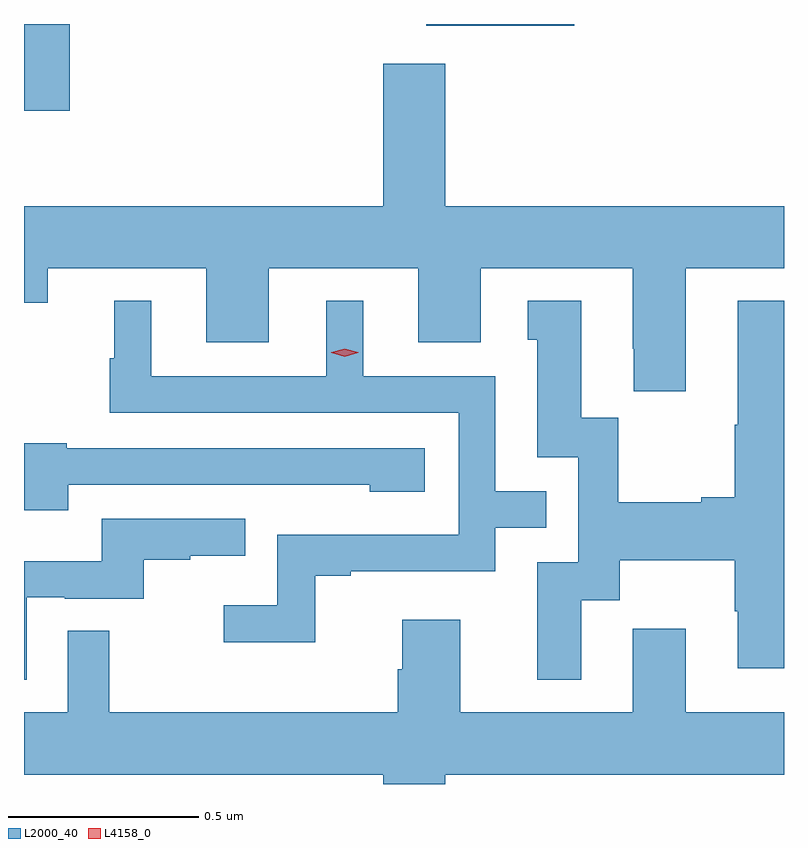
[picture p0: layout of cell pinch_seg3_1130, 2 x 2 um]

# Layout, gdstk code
import gdstk
lib = gdstk.Library(unit=1e-6, precision=1e-09)
def R(c, l, rs):  # rectangles x0, y0, x1, y1
    for r in rs: c.add(gdstk.rectangle(r[:2], r[2:], *l))
def P(c, l, *ps):  # polygons
    for p in ps: c.add(gdstk.Polygon(p, *l))
L2000_40 = (2000, 40)
L4158_0 = (4158, 0)

pinch_seg3_1130 = lib.new_cell('pinch_seg3_1130')
R(pinch_seg3_1130, L2000_40, [(379.847,727.971,379.967,728.199), (380.906,728.194,381.295,728.199)])
P(pinch_seg3_1130, L2000_40, [(381.589,727.556),(381.847,727.556),(381.847,727.72),(380.956,727.72),(380.956,728.095),(380.792,728.095),(380.792,727.72),(379.847,727.72),(379.847,727.466),(379.909,727.466),(379.909,727.556),(380.327,727.556),(380.327,727.362),(380.491,727.362),(380.491,727.556),(380.885,727.556),(380.885,727.362),(381.049,727.362),(381.049,727.556),(381.449,727.556),(381.449,727.345),(381.452,727.345),(381.452,727.233),(381.589,727.233)],
  [(381.313,726.682),(381.415,726.682),(381.415,726.788),(381.718,726.788),(381.718,726.654),(381.725,726.654),(381.725,726.504),(381.847,726.504),(381.847,727.471),(381.725,727.471),(381.725,727.145),(381.718,727.145),(381.718,726.953),(381.629,726.953),(381.629,726.94),(381.411,726.94),(381.411,727.163),(381.313,727.163),(381.313,727.471),(381.173,727.471),(381.173,727.368),(381.197,727.368),(381.197,727.059),(381.306,727.059),(381.306,726.783),(381.197,726.783),(381.197,726.474),(381.313,726.474)],
  [(380.613,726.747),(380.707,726.747),(380.707,726.759),(381.087,726.759),(381.087,726.873),(381.221,726.873),(381.221,726.969),(381.087,726.969),(381.087,727.272),(380.74,727.272),(380.74,727.471),(380.642,727.471),(380.642,727.272),(380.182,727.272),(380.182,727.471),(380.084,727.471),(380.084,727.32),(380.073,727.32),(380.073,727.176),(380.991,727.176),(380.991,726.855),(380.514,726.855),(380.514,726.67),(380.373,726.67),(380.373,726.572),(380.613,726.572)],
  [(379.963,726.987),(380.521,726.987),(380.521,726.986),(380.757,726.986),(380.757,726.968),(380.902,726.968),(380.902,727.083),(379.959,727.083),(379.959,727.096),(379.847,727.096),(379.847,726.92),(379.963,726.92)],
  [(379.854,726.69),(379.954,726.69),(379.954,726.687),(380.162,726.687),(380.162,726.789),(380.285,726.789),(380.285,726.8),(380.429,726.8),(380.429,726.897),(380.052,726.897),(380.052,726.785),(379.847,726.785),(379.847,726.473),(379.854,726.473)],
  [(380.956,726.224),(381.847,726.224),(381.847,726.388),(381.589,726.388),(381.589,726.607),(381.449,726.607),(381.449,726.388),(380.995,726.388),(380.995,726.631),(380.843,726.631),(380.843,726.501),(380.831,726.501),(380.831,726.388),(380.071,726.388),(380.071,726.602),(379.962,726.602),(379.962,726.388),(379.847,726.388),(379.847,726.224),(380.792,726.224),(380.792,726.199),(380.956,726.199)])
P(pinch_seg3_1130, L4158_0, [(380.691,727.324),(380.655,727.334),(380.655,727.334),(380.655,727.335),(380.691,727.344),(380.727,727.335),(380.727,727.334),(380.727,727.334)])

lib.write_gds('pinch_seg3_1130.gds')
